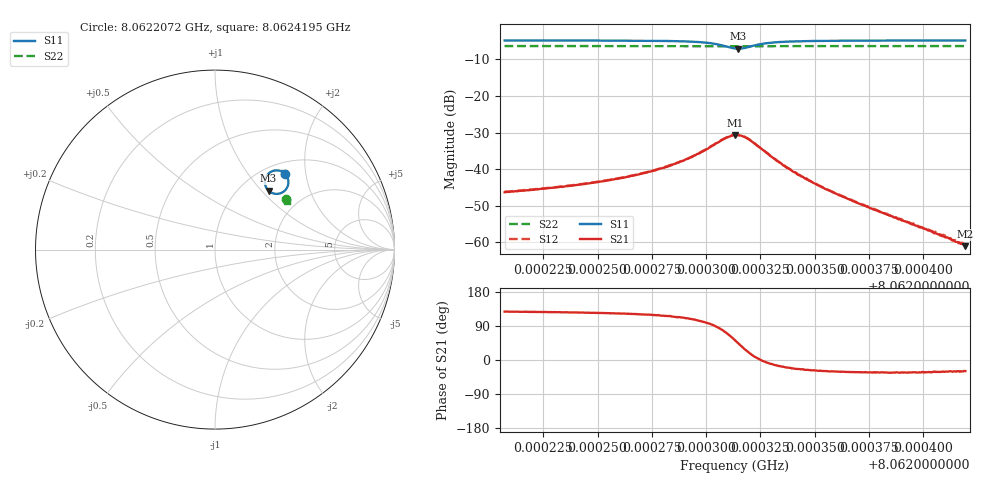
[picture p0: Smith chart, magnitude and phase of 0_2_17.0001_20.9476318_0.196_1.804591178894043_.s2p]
#  HZ  S  RI  R  50.00
! Rohde & Schwarz Vector Network Analyzer
! Rohde-Schwarz,ZNB20-2Port,1311601062101988,3.16
! Created: UTC 3/20/2024, 10:52:02 PM
! freq[Hz]  re:S11  im:S11  re:S21  im:S21  re:S12  im:S12  re:S22  im:S22
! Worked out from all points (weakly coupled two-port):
!   401 points, 8.0622072 GHz to 8.0624195 GHz, reference 50 ohm
!   highest |S21| = -30.64 dB at 8.0623133 GHz (marker M1); lowest = -61.0 dB at 8.0624195 GHz (marker M2)
!   lowest |S11| = -7.1 dB at 8.0623149 GHz (marker M3), VSWR 2.59, Z = 67 + j54.7 ohm
!   |S11| at or under -10 dB: nowhere
!   |S22| runs from -6.4 to -6.3 dB; largest |S21 - S12| = 0.002
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8.06220718e9  0.3906 0.4222  -0.00295 0.00384  -0.00278 0.00406  0.3932 0.2794
8.06222469e9  0.3933 0.419  -0.00323 0.00433  -0.003 0.00458  0.3937 0.2784
8.06224273e9  0.3963 0.4153  -0.00357 0.00506  -0.00333 0.00533  0.3944 0.2773
8.0622629e9  0.401 0.4079  -0.00416 0.00659  -0.0038 0.00688  0.395 0.2759
8.06227829e9  0.4057 0.3972  -0.00473 0.00888  -0.00412 0.00925  0.3956 0.2748
8.06228625e9  0.4081 0.3875  -0.00478 0.011  -0.00425 0.0114  0.3958 0.2737
8.06229262e9  0.4091 0.3752  -0.00454 0.0136  -0.00378 0.0141  0.3959 0.2729
8.06230217e9  0.4001 0.343  -0.00155 0.0203  -0.000326 0.0205  0.3953 0.2713
8.0623096e9  0.3562 0.3117  0.00915 0.0256  0.0107 0.0252  0.3931 0.2703
8.06231332e9  0.3151 0.3168  0.0179 0.0233  0.0194 0.0222  0.3916 0.271
8.06231491e9  0.2988 0.3279  0.0212 0.0201  0.0224 0.0191  0.391 0.2718
8.06231703e9  0.2835 0.3493  0.0238 0.015  0.0249 0.0137  0.3907 0.2729
8.06231915e9  0.2781 0.3727  0.0243 0.00982  0.025 0.00825  0.3911 0.2738
8.06232287e9  0.2852 0.406  0.0216 0.0027  0.0219 0.00143  0.3918 0.275
8.06232712e9  0.3026 0.4273  0.0174 -0.00149  0.0173 -0.00252  0.3931 0.2754
8.06233667e9  0.3339 0.4407  0.0101 -0.0036  0.01 -0.00415  0.395 0.2751
8.06234251e9  0.3455 0.4415  0.00767 -0.00341  0.00754 -0.00372  0.3958 0.2745
8.06234887e9  0.3542 0.4407  0.0059 -0.00302  0.00575 -0.00342  0.3961 0.2742
8.06236161e9  0.365 0.438  0.00377 -0.00224  0.00371 -0.00247  0.3969 0.2733
8.06238443e9  0.3749 0.4337  0.00195 -0.00128  0.00189 -0.00139  0.3981 0.2718
8.06241044e9  0.381 0.43  0.000999 -0.000597  0.000974 -0.000651  0.3991 0.2704
8.06241946e9  0.3826 0.429  0.000774 -0.000434  0.000764 -0.000475  0.3994 0.27
